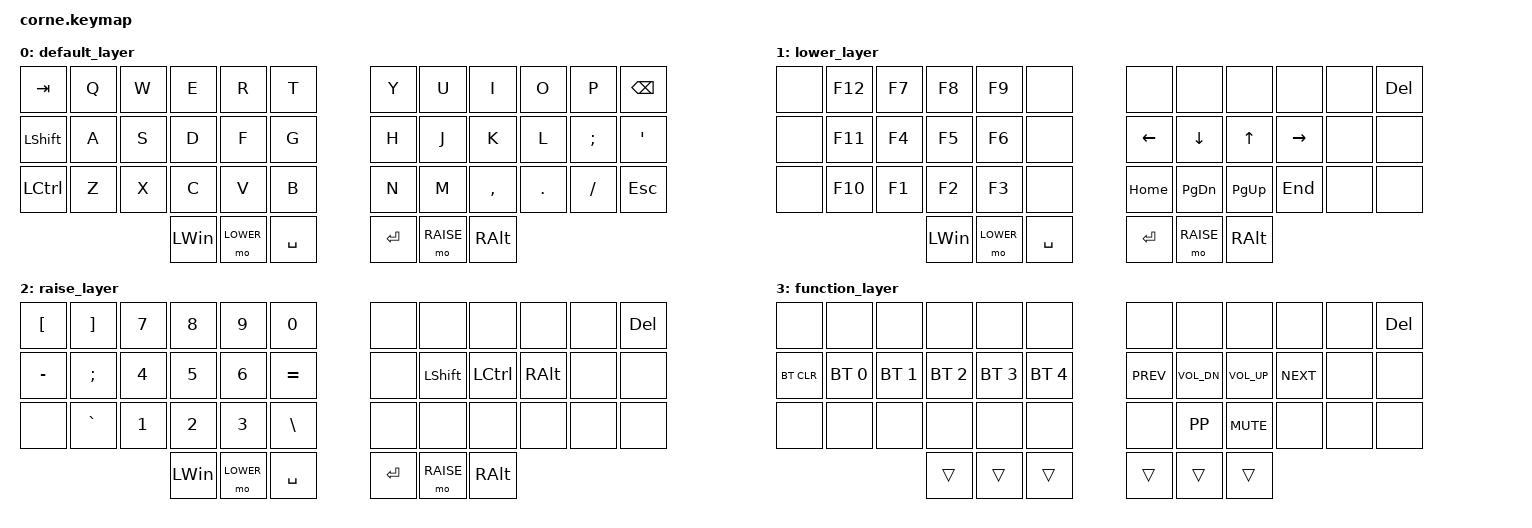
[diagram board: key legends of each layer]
/*
 * Copyright (c) 2020 The ZMK Contributors
 *
 * SPDX-License-Identifier: MIT
 */

#include <behaviors.dtsi>
#include <dt-bindings/zmk/keys.h>
#include <dt-bindings/zmk/bt.h>

#define DEFAULT 0
#define LOWER 1
#define RAISE 2

&mt {
    tapping-term-ms = <201>;
    flavor = "tap-preferred";
};

/ {
    conditional_layers {
        compatible = "zmk,conditional-layers";
        tri_layer {
            if-layers = <1 2>;
            then-layer = <3>;
        };
    };

    behaviors {
        td_caps: tap_dance_0 {
            compatible = "zmk,behavior-tap-dance";
            label = "CAPS_TP";
            #binding-cells = <0>;
            tapping-term-ms = <200>;
            bindings = <&kp LSHFT>, <&kp CAPS>;
        };
    };

    keymap {
        compatible = "zmk,keymap";
        label = "Default keymap";

        default_layer {
            bindings = <
                &kp TAB   &kp Q &kp W &kp E    &kp R        &kp T                                &kp Y     &kp U        &kp I        &kp O       &kp P     &kp BSPC
                &kp LSHFT &kp A &kp S &kp D    &kp F        &kp G                                &kp H     &kp J        &kp K        &kp L       &kp SEMI  &kp SQT
                &kp LCTRL &kp Z &kp X &kp C    &kp V        &kp B                                &kp N     &kp M        &kp COMMA    &kp DOT     &kp FSLH  &kp ESC
                                      &kp LWIN &mo LOWER    &kp SPACE                            &kp RET   &mo RAISE    &kp RALT
            >;
        };

        lower_layer {
            bindings = <
                &none &kp F12 &kp F7 &kp F8   &kp F9    &none                                &none    &none     &none     &none     &none &kp DEL
                &none &kp F11 &kp F4 &kp F5   &kp F6    &none                                &kp LEFT &kp DOWN  &kp UP    &kp RIGHT &none &none
                &none &kp F10 &kp F1 &kp F2   &kp F3    &none                                &kp HOME &kp PG_DN &kp PG_UP &kp END   &none &none
                                     &kp LWIN &mo LOWER &kp SPACE                            &kp RET  &mo RAISE &kp RALT
            >;
        };

        raise_layer {
            bindings = <
                &kp LBKT  &kp RBKT  &kp N7   &kp N8   &kp N9    &kp N0                             &none   &none     &none     &none    &none &kp DEL
                &kp MINUS &kp SEMI  &kp N4   &kp N5   &kp N6    &kp EQUAL                          &none   &kp LSHFT &kp LCTRL &kp RALT &none &none
                &none     &kp GRAVE &kp N1   &kp N2   &kp N3    &kp BSLH                           &none   &none     &none     &none    &none &none
                                             &kp LWIN &mo LOWER &kp SPACE                          &kp RET &mo RAISE &kp RALT
            >;
        };

        function_layer {
            bindings = <
                &none      &none        &none        &none        &none        &none             &none      &none        &none        &none      &none &kp DEL
                &bt BT_CLR &bt BT_SEL 0 &bt BT_SEL 1 &bt BT_SEL 2 &bt BT_SEL 3 &bt BT_SEL 4      &kp C_PREV &kp C_VOL_DN &kp C_VOL_UP &kp C_NEXT &none &none
                &none      &none        &none        &none        &none        &none             &none      &kp K_PP     &kp C_MUTE   &none      &none &none
                                                     &trans       &trans       &trans            &trans   &trans    &trans
            >;
        };

    };
};
